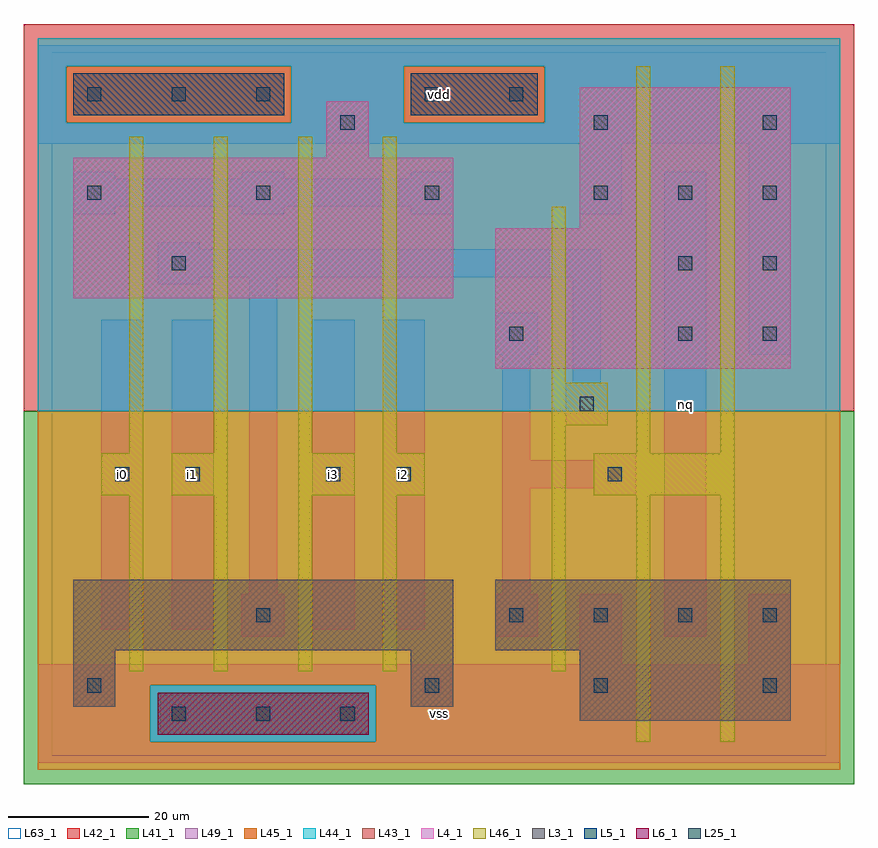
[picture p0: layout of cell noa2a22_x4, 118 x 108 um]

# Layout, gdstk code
import gdstk
lib = gdstk.Library(unit=1e-6, precision=1e-09)
def R(c, l, rs):  # rectangles x0, y0, x1, y1
    for r in rs: c.add(gdstk.rectangle(r[:2], r[2:], *l))
def A(c, l, x, y, w, h, nx, ny, dx, dy):  # array of equal rectangles
    R(c, l, [(x+i*dx, y+j*dy, x+i*dx+w, y+j*dy+h) for i in range(nx) for j in range(ny)])
L3_1 = (3, 1)
L4_1 = (4, 1)
L5_1 = (5, 1)
L6_1 = (6, 1)
L25_1 = (25, 1)
L41_1 = (41, 1)
L42_1 = (42, 1)
L43_1 = (43, 1)
L44_1 = (44, 1)
L45_1 = (45, 1)
L46_1 = (46, 1)
L49_1 = (49, 1)
L63_1 = (63, 1)

noa2a22_x4 = lib.new_cell('noa2a22_x4')
R(noa2a22_x4, L3_1, [(75,5,105,15), (3,7,9,15), (51,7,57,15), (3,15,57,25), (63,15,105,25)])
R(noa2a22_x4, L4_1, [(63,55,105,75), (3,65,57,85), (75,75,105,95), (39,85,45,93)])
R(noa2a22_x4, L5_1, [(3,91,33,97), (51,91,69,97)])
R(noa2a22_x4, L6_1, [(15,3,45,9)])
A(noa2a22_x4, L25_1, 17, 5, 2, 2, 3, 1, 12, 0)
A(noa2a22_x4, L25_1, 53, 9, 2, 2, 3, 1, 24, 0)
A(noa2a22_x4, L25_1, 65, 19, 2, 2, 4, 1, 12, 0)
A(noa2a22_x4, L25_1, 89, 59, 2, 2, 1, 3, 0, 10)
A(noa2a22_x4, L25_1, 101, 59, 2, 2, 1, 4, 0, 10)
A(noa2a22_x4, L25_1, 5, 79, 2, 2, 4, 1, 24, 0)
A(noa2a22_x4, L25_1, 5, 93, 2, 2, 3, 1, 12, 0)
R(noa2a22_x4, L25_1, [(5,9,7,11), (29,19,31,21), (9,39,11,41), (19,39,21,41), (39,39,41,41), (49,39,51,41), (79,39,81,41), (75,49,77,51), (65,59,67,61), (17,69,19,71), (41,89,43,91), (77,89,79,91), (53,93,55,95), (65,93,67,95)])
R(noa2a22_x4, L41_1, [(-4,-4,114,49)])
R(noa2a22_x4, L42_1, [(-4,49,114,104)])
R(noa2a22_x4, L43_1, [(15,3,45,9), (75,5,105,15), (3,7,9,15), (51,7,57,15), (3,15,57,25), (63,15,105,25), (63,55,105,75), (3,65,57,85), (75,75,105,95), (39,85,45,93), (3,91,33,97), (51,91,69,97)])
R(noa2a22_x4, L44_1, [(14,2,46,10), (-2,49,112,90), (-2,90,2,98), (34,90,50,98), (70,90,112,98), (-2,98,112,102)])
R(noa2a22_x4, L45_1, [(-2,-2,112,2), (-2,2,14,10), (46,2,112,10), (-2,10,112,49), (2,90,34,98), (50,90,70,98)])
A(noa2a22_x4, L46_1, 11, 12, 2, 25, 4, 1, 12, 0)
A(noa2a22_x4, L46_1, 11, 43, 2, 45, 4, 1, 12, 0)
R(noa2a22_x4, L46_1, [(83,2,85,37), (95,2,97,37), (71,12,73,47), (7,37,13,43), (17,37,25,43), (35,37,43,43), (47,37,53,43), (77,37,97,43), (83,43,85,98), (95,43,97,98), (71,47,79,53), (71,53,73,78)])
A(noa2a22_x4, L49_1, 3, 77, 6, 1, 3, 2, 24, 5)
R(noa2a22_x4, L49_1, [(-2,-1,112,13), (75,13,81,23), (99,13,105,23), (27,17,33,23), (63,17,69,23), (87,17,93,83), (7,18,13,62), (17,18,23,62), (37,18,43,62), (47,18,53,62), (28,23,32,68), (64,23,68,38), (77,37,83,38), (64,38,83,42), (64,42,68,57), (77,42,83,43), (73,47,79,53), (74,53,78,68), (63,57,69,63), (99,57,105,87), (15,67,21,68), (15,68,78,72), (15,72,21,73), (75,77,81,87), (3,78,57,82), (-2,87,112,101)])
R(noa2a22_x4, L63_1, [(0,0,110,100)])
noa2a22_x4.add(gdstk.Label('i1', (20,40), layer=49, texttype=1))
noa2a22_x4.add(gdstk.Label('i0', (10,40), layer=49, texttype=1))
noa2a22_x4.add(gdstk.Label('i1', (20,40), layer=49, texttype=1))
noa2a22_x4.add(gdstk.Label('i0', (10,40), layer=49, texttype=1))
noa2a22_x4.add(gdstk.Label('i2', (50,40), layer=49, texttype=1))
noa2a22_x4.add(gdstk.Label('i3', (40,40), layer=49, texttype=1))
noa2a22_x4.add(gdstk.Label('i3', (40,40), layer=49, texttype=1))
noa2a22_x4.add(gdstk.Label('i2', (50,40), layer=49, texttype=1))
noa2a22_x4.add(gdstk.Label('vss', (55,6), layer=49, texttype=1))
noa2a22_x4.add(gdstk.Label('vss', (55,6), layer=49, texttype=1))
noa2a22_x4.add(gdstk.Label('vdd', (55,94), layer=49, texttype=1))
noa2a22_x4.add(gdstk.Label('vdd', (55,94), layer=49, texttype=1))
noa2a22_x4.add(gdstk.Label('nq', (90,50), layer=49, texttype=1))
noa2a22_x4.add(gdstk.Label('nq', (90,50), layer=49, texttype=1))

lib.write_gds('noa2a22_x4.gds')
